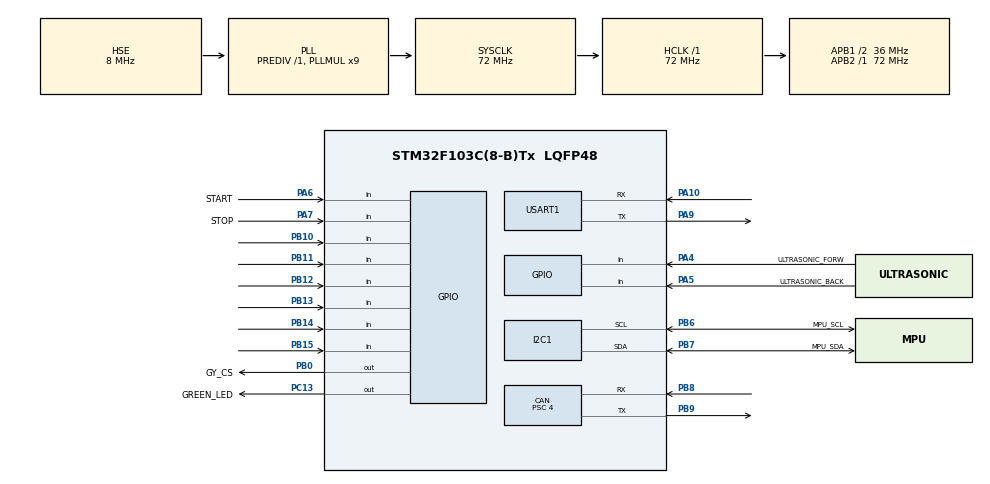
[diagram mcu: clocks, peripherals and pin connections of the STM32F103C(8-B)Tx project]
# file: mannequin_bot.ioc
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CAN.BS1=CAN_BS1_15TQ
CAN.BS2=CAN_BS2_2TQ
CAN.CalculateBaudRate=500000
CAN.CalculateTimeBit=2000
CAN.CalculateTimeQuantum=111.11111111111111
CAN.Prescaler=4
Dma.Request0=USART1_RX
Dma.USART1_RX.0.Direction=DMA_PERIPH_TO_MEMORY
Dma.USART1_RX.0.Instance=DMA1_Channel5
Dma.USART1_RX.0.MemDataAlignment=DMA_MDATAALIGN_BYTE
Dma.USART1_RX.0.MemInc=DMA_MINC_ENABLE
Dma.USART1_RX.0.Mode=DMA_NORMAL
Dma.USART1_RX.0.PeriphDataAlignment=DMA_PDATAALIGN_BYTE
Dma.USART1_RX.0.PeriphInc=DMA_PINC_DISABLE
Dma.USART1_RX.0.Priority=DMA_PRIORITY_LOW
I2C1.I2C_Mode=I2C_Fast
Mcu.Family=STM32F1
Mcu.Name=STM32F103C(8-B)Tx
Mcu.Package=LQFP48
NVIC.CAN1_SCE_IRQn=true\:0\:0\:false\:false\:true\:true\:true\:true
NVIC.DMA1_Channel5_IRQn=true\:0\:0\:false\:false\:true\:false\:true\:true
NVIC.PriorityGroup=NVIC_PRIORITYGROUP_4
NVIC.USART1_IRQn=true\:0\:0\:false\:false\:true\:true\:true\:true
NVIC.USB_LP_CAN1_RX0_IRQn=true\:0\:0\:false\:false\:true\:true\:true\:true
PA10.Mode=Asynchronous
PA10.Signal=USART1_RX
PA13.Mode=Serial_Wire
PA13.Signal=SYS_JTMS-SWDIO
PA14.Mode=Serial_Wire
PA14.Signal=SYS_JTCK-SWCLK
PA4.GPIO_Label=ULTRASONIC_FORW
PA4.GPIO_PuPd=GPIO_PULLUP
PA4.Signal=GPIO_Input
PA5.GPIO_Label=ULTRASONIC_BACK
PA5.GPIO_PuPd=GPIO_PULLUP
PA5.Signal=GPIO_Input
PA6.GPIO_Label=START
PA6.GPIO_PuPd=GPIO_PULLUP
PA6.Signal=GPIO_Input
PA7.GPIO_Label=STOP
PA7.GPIO_PuPd=GPIO_PULLUP
PA7.Signal=GPIO_Input
PA9.Mode=Asynchronous
PA9.Signal=USART1_TX
PB0.GPIO_Label=GY_CS
PB0.Signal=GPIO_Output
PB10.GPIO_PuPd=GPIO_PULLUP
PB10.Signal=GPIO_Input
PB11.GPIO_PuPd=GPIO_PULLUP
PB11.Signal=GPIO_Input
PB12.GPIO_PuPd=GPIO_PULLUP
PB12.Signal=GPIO_Input
PB13.GPIO_PuPd=GPIO_PULLUP
PB13.Signal=GPIO_Input
PB14.GPIO_PuPd=GPIO_PULLUP
PB14.Signal=GPIO_Input
PB15.GPIO_PuPd=GPIO_PULLUP
PB15.Signal=GPIO_Input
PB6.GPIO_Label=MPU_SCL
PB6.Mode=I2C
PB6.Signal=I2C1_SCL
PB7.GPIO_Label=MPU_SDA
PB7.Mode=I2C
PB7.Signal=I2C1_SDA
PB8.Mode=CAN_Activate
PB8.Signal=CAN_RX
PB9.Mode=CAN_Activate
PB9.Signal=CAN_TX
PC13-TAMPER-RTC.GPIO_Label=GREEN_LED
PC13-TAMPER-RTC.PinState=GPIO_PIN_SET
PC13-TAMPER-RTC.Signal=GPIO_Output
PD0-OSC_IN.Mode=HSE-External-Oscillator
PD0-OSC_IN.Signal=RCC_OSC_IN
PD1-OSC_OUT.Mode=HSE-External-Oscillator
PD1-OSC_OUT.Signal=RCC_OSC_OUT
ProjectManager.HeapSize=0x200
ProjectManager.StackSize=0x400
ProjectManager.TargetToolchain=STM32CubeIDE
RCC.AHBFreq_Value=72000000
RCC.APB1CLKDivider=RCC_HCLK_DIV2
RCC.APB1Freq_Value=36000000
RCC.APB1TimFreq_Value=72000000
RCC.APB2Freq_Value=72000000
RCC.APB2TimFreq_Value=72000000
RCC.HCLKFreq_Value=72000000
RCC.PLLMUL=RCC_PLL_MUL9
RCC.PLLSourceVirtual=RCC_PLLSOURCE_HSE
RCC.SYSCLKFreq_VALUE=72000000
RCC.SYSCLKSource=RCC_SYSCLKSOURCE_PLLCLK
RCC.USBFreq_Value=72000000
USART1.VirtualMode=VM_ASYNC
board=custom

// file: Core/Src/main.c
/* USER CODE BEGIN Header */
/**
  ******************************************************************************
  * @file           : main.c
  * @brief          : Main program body
  ******************************************************************************
  * @attention
  *
  * Copyright (c) 2023 STMicroelectronics.
  * All rights reserved.
  *
  * This software is licensed under terms that can be found in the LICENSE file
  * in the root directory of this software component.
  * If no LICENSE file comes with this software, it is provided AS-IS.
  *
  ******************************************************************************
  */
/* USER CODE END Header */
#include "main.h"

/* USER CODE BEGIN Includes */
#include "MPU9250-DMP.h"
#include "printf/printf.h"
#include "stdlib.h"
#include "string.h"
#include "stdio.h"
//#include "math.h"
/* USER CODE END Includes */

CAN_HandleTypeDef hcan;

I2C_HandleTypeDef hi2c1;

UART_HandleTypeDef huart1;
DMA_HandleTypeDef hdma_usart1_rx;

/* USER CODE BEGIN PV */
char buff[100];

/* USER CODE END PV */

void SystemClock_Config(void);
static void MX_GPIO_Init(void);
static void MX_DMA_Init(void);
static void MX_USART1_UART_Init(void);
static void MX_CAN_Init(void);
static void MX_I2C1_Init(void);

/* USER CODE BEGIN 0 */
#define ULTRA_FORW HAL_GPIO_ReadPin(ULTRASONIC_FORW_GPIO_Port, ULTRASONIC_FORW_Pin)
#define ULTRA_BACK HAL_GPIO_ReadPin(ULTRASONIC_BACK_GPIO_Port, ULTRASONIC_BACK_Pin)
#define START_B HAL_GPIO_ReadPin(START_GPIO_Port, START_Pin)
#define STOP_B HAL_GPIO_ReadPin(STOP_GPIO_Port, STOP_Pin)

#define DRIVER_MOVE_ID 0x01
#define DRIVER_LIFT_ID 0x02
#define MOTOR_SPEED 800
#define MOTOR_SPEED_ROTATE 800
#define ANGL_ROT 30

int32_t status_move = 0;

enum StatMove {
	STAT_MOVE_STOP = 0,
	STAT_MOVE_FORW,
	STAT_MOVE_BACK,
	STAT_MOVE_ROT_R,
	STAT_MOVE_ROT_L
};

uint8_t uart_buff[100];
uint8_t new_data = 0;
uint16_t data_size = 0;

int32_t manual_mode = 0;
int32_t start_stop = 0;
int32_t motor_speed_left = 0;
int32_t motor_speed_right = 0;

CAN_TxHeaderTypeDef TxHeader;
CAN_RxHeaderTypeDef RxHeader;
uint8_t TxData[8] = {0,};
uint8_t RxData[8] = {0,};
uint32_t TxMailbox = 0;
volatile uint8_t NewCanMsg = 0;

enum CanGetMsgStatus {
	CAN_GET_MSG_WAIT					=  0,
	CAN_GET_MSG_OK                      =  1,
	CAN_GET_MSG_ERROR                   =  2,
};

typedef struct {
	int32_t encoder;
	float voltage;
} CanDataRecvTypeDef;

typedef struct {
	uint32_t canId;
	uint32_t canExtId;
	uint32_t canRTR;
	uint8_t canData[8];
} CanDataSendTypeDef;

extern float pitch_inside, roll_inside, yaw_inside;
extern float heading;
void printIMUData(void)
{
  snprintf(buff, sizeof buff, "%2.2f | %2.2f | %2.2f |  %2.2f\r\n", roll_inside, pitch_inside, yaw_inside, heading);
  HAL_UART_Transmit(&huart1, (uint8_t*)buff, strlen(buff), HAL_MAX_DELAY);
}

void HAL_UART_ErrorCallback(UART_HandleTypeDef *huart)
{
	uint32_t er = HAL_UART_GetError(huart);
	switch (er) {
		case HAL_UART_ERROR_PE: // ошибка четности
			__HAL_UART_CLEAR_PEFLAG(huart);
			huart->ErrorCode = HAL_UART_ERROR_NONE;
			break;
		case HAL_UART_ERROR_NE:  // шум на линии
			__HAL_UART_CLEAR_NEFLAG(huart);
			huart->ErrorCode = HAL_UART_ERROR_NONE;
			break;
		case HAL_UART_ERROR_FE:  // ошибка фрейма
			__HAL_UART_CLEAR_FEFLAG(huart);
			huart->ErrorCode = HAL_UART_ERROR_NONE;
			break;
		case HAL_UART_ERROR_ORE:  // overrun error
			__HAL_UART_CLEAR_OREFLAG(huart);
			huart->ErrorCode = HAL_UART_ERROR_NONE;
			break;
		case HAL_UART_ERROR_DMA:  // ошибка DMA
			huart->ErrorCode = HAL_UART_ERROR_NONE;
			break;
		default:
			break;
		}
	if (huart->Instance == USART1) {
		new_data = 1;
		HAL_UARTEx_ReceiveToIdle_DMA(&huart1, uart_buff, sizeof(uart_buff));
		__HAL_DMA_DISABLE_IT(&hdma_usart1_rx, DMA_IT_HT);
	}
}

void HAL_UARTEx_RxEventCallback(UART_HandleTypeDef *huart, uint16_t Size) {
	if (huart->Instance == USART1) {
		new_data = 1;
		data_size = Size;
		HAL_UARTEx_ReceiveToIdle_DMA(&huart1, uart_buff, sizeof(uart_buff));
		__HAL_DMA_DISABLE_IT(&hdma_usart1_rx, DMA_IT_HT);
	}
}

void HAL_CAN_RxFifo0MsgPendingCallback(CAN_HandleTypeDef *hcan)
{
	if (HAL_CAN_GetRxMessage(hcan, CAN_RX_FIFO0, &RxHeader, RxData) != HAL_OK)
	{
		Error_Handler();
	}
	NewCanMsg = CAN_GET_MSG_OK;
}
void HAL_CAN_ErrorCallback(CAN_HandleTypeDef *hcan)
{
    NewCanMsg = CAN_GET_MSG_ERROR;
}

uint8_t CanMsgRead(CanDataRecvTypeDef *canDataRecv) {

	return 1;
}

uint8_t CanMsgSend(CanDataSendTypeDef *canDataSend) {

	TxHeader.StdId = canDataSend->canId;
	TxHeader.ExtId = canDataSend->canExtId;
	TxHeader.RTR = canDataSend->canRTR;
	TxHeader.IDE = CAN_ID_EXT;
	TxHeader.DLC = 8;
	TxHeader.TransmitGlobalTime = 0;
	//globData.can_mutex = 0;
	for (int i = 0; i < sizeof(TxData); i++) {
		TxData[i] = canDataSend->canData[i];
	}
	while (HAL_CAN_GetTxMailboxesFreeLevel(&hcan) == 0);
	if (HAL_CAN_AddTxMessage(&hcan, &TxHeader, TxData, &TxMailbox) != HAL_OK) {
		//HAL_UART_Transmit(&huart, (uint8_t*) "no_trans\r\n", 10, 100);
		return 0;
	}
	return 1;
}

void Moving() {

	CanDataSendTypeDef canDataSend;

	static int move_axis_en = 0;
	static int lift_axis_en = 0;
	if (start_stop) {
			canDataSend.canExtId = DRIVER_MOVE_ID + 0x06000000;
			canDataSend.canRTR = CAN_RTR_DATA;
			if (!move_axis_en) {
				move_axis_en = 1;
				canDataSend.canData[0] = 0x23;
				canDataSend.canData[1] = 0x0D;
				canDataSend.canData[2] = 0x20;
				canDataSend.canData[3] = 0x01;
				canDataSend.canData[4] = 0x00;
				canDataSend.canData[5] = 0x00;
				canDataSend.canData[6] = 0x00;
				canDataSend.canData[7] = 0x00;
				CanMsgSend(&canDataSend);
				HAL_Delay(10);
			}
			if (!lift_axis_en) {
				lift_axis_en = 1;
				canDataSend.canData[0] = 0x23;
				canDataSend.canData[1] = 0x0D;
				canDataSend.canData[2] = 0x20;
				canDataSend.canData[3] = 0x02;
				canDataSend.canData[4] = 0x00;
				canDataSend.canData[5] = 0x00;
				canDataSend.canData[6] = 0x00;
				canDataSend.canData[7] = 0x00;
				CanMsgSend(&canDataSend);
				HAL_Delay(10);
			}
			static int32_t ch_velocity = 0;
			//if (motor1_speed) { //(l_current_move_comm == MOVE_FORW) {
			//HAL_UART_Transmit(&DEBUG_UART, (uint8_t*)"can_send\r\n", 10, 100);
			canDataSend.canData[0] = 0x23;
			canDataSend.canData[1] = 0x00;
			canDataSend.canData[2] = 0x20;
			canDataSend.canData[3] = 0x01;
			ch_velocity = motor_speed_left;
			canDataSend.canData[4] = ch_velocity >> 24;
			canDataSend.canData[5] = ch_velocity >> 16;
			canDataSend.canData[6] = ch_velocity >> 8;
			canDataSend.canData[7] = ch_velocity;
			CanMsgSend(&canDataSend);
			HAL_Delay(2);
			//}
			//else if (motor2_speed) {
			canDataSend.canData[0] = 0x23;
			canDataSend.canData[1] = 0x00;
			canDataSend.canData[2] = 0x20;
			canDataSend.canData[3] = 0x02;
			ch_velocity = motor_speed_right;
			canDataSend.canData[4] = ch_velocity >> 24;
			canDataSend.canData[5] = ch_velocity >> 16;
			canDataSend.canData[6] = ch_velocity >> 8;
			canDataSend.canData[7] = ch_velocity;
			CanMsgSend(&canDataSend);
			//}
		}
		else
		{
			canDataSend.canData[0] = 0x23;
			canDataSend.canData[1] = 0x00;
			canDataSend.canData[2] = 0x20;
			canDataSend.canData[3] = 0x01;
			canDataSend.canData[4] = 0x00;
			canDataSend.canData[5] = 0x00;
			canDataSend.canData[6] = 0x00;
			canDataSend.canData[7] = 0x00;
			CanMsgSend(&canDataSend);
			HAL_Delay(10);
			canDataSend.canData[0] = 0x23;
			canDataSend.canData[1] = 0x00;
			canDataSend.canData[2] = 0x20;
			canDataSend.canData[3] = 0x02;
			canDataSend.canData[4] = 0x00;
			canDataSend.canData[5] = 0x00;
			canDataSend.canData[6] = 0x00;
			canDataSend.canData[7] = 0x00;
			CanMsgSend(&canDataSend);
			move_axis_en = 0;
			lift_axis_en = 0;
		}
		HAL_Delay(5);
}

void read_uart() {
	if (new_data)
	{
		new_data = 0;
	}
//	HAL_UART_Transmit(&huart1, (uint8_t*)bms_jbd_request_msg0, sizeof(bms_jbd_request_msg0), 100);
}

void logic()
{
	static uint32_t ultra_forw_trig = 0;
	static uint32_t ultra_back_trig = 0;
	static uint32_t logic_state = 0;
	static float yaw_sv = 0;
	if (start_stop)
	{
		if (!ULTRA_FORW && status_move == STAT_MOVE_FORW) //npn sensor
		{
//			HAL_GPIO_WritePin(GREEN_LED_GPIO_Port, GREEN_LED_Pin, GPIO_PIN_RESET);
			ultra_forw_trig = 1;
		}
		if (!ULTRA_BACK && status_move == STAT_MOVE_BACK) //npn sensor
		{
			ultra_back_trig = 1;
//			HAL_GPIO_WritePin(GREEN_LED_GPIO_Port, GREEN_LED_Pin, GPIO_PIN_RESET);
		}
//		if (ULTRA_FORW && ULTRA_BACK)
//		{
//			HAL_GPIO_WritePin(GREEN_LED_GPIO_Port, GREEN_LED_Pin, GPIO_PIN_SET);
//		}
		if (logic_state == 0)
		{
			yaw_sv = yaw_inside;
			logic_state++;
		}
		else if (logic_state == 1)
		{

			if (ultra_forw_trig || ultra_back_trig)
			{
				uint32_t randm = rand()%10;
				if (randm > 5)
				{
					motor_speed_left = MOTOR_SPEED_ROTATE;
					motor_speed_right = MOTOR_SPEED_ROTATE;
					status_move = STAT_MOVE_ROT_R;
				}
				else
				{
					motor_speed_left = -MOTOR_SPEED_ROTATE;
					motor_speed_right = -MOTOR_SPEED_ROTATE;
					status_move = STAT_MOVE_ROT_L;
				}
				logic_state++;
			}
			else
			{
				logic_state = 3;
			}

		}
		else if (logic_state == 2)
		{
			float yaw_tmp = abs(yaw_sv - yaw_inside);
			if (yaw_tmp > ANGL_ROT)
			{
				logic_state = 3;
			}
		}
		else if (logic_state == 3)
		{
			if (ultra_back_trig)
			{
				motor_speed_left = MOTOR_SPEED;
				motor_speed_right = -MOTOR_SPEED;
				status_move = STAT_MOVE_FORW;
			}
			else
			{
				motor_speed_left = -MOTOR_SPEED;
				motor_speed_right = MOTOR_SPEED;
				status_move = STAT_MOVE_BACK;
			}
			ultra_forw_trig = 0;
			ultra_back_trig = 0;
			logic_state++;
		}
		else if (logic_state == 4)
		{
			if (ultra_forw_trig || ultra_back_trig)
			{
				logic_state = 0;
			}
		}
	}
	else
	{
		logic_state = 0;
		if (!manual_mode)
		{
			motor_speed_left = 0;
			motor_speed_right = 0;
			status_move = STAT_MOVE_STOP;
		}
	}
}
/* USER CODE END 0 */

int main(void)
{

  /* MCU Configuration--------------------------------------------------------*/

  /* Reset of all peripherals, Initializes the Flash interface and the Systick. */
  HAL_Init();

  /* Configure the system clock */
  SystemClock_Config();

  /* Initialize all configured peripherals */
  MX_GPIO_Init();
  MX_DMA_Init();
  MX_USART1_UART_Init();
  MX_CAN_Init();
  MX_I2C1_Init();
  /* USER CODE BEGIN 2 */
  HAL_UARTEx_ReceiveToIdle_DMA(&huart1, uart_buff, sizeof(uart_buff));
  __HAL_DMA_DISABLE_IT(&hdma_usart1_rx, DMA_IT_HT);

  /* USER CODE END 2 */

  /* Infinite loop */
  /* USER CODE BEGIN WHILE */
  HAL_Delay(1500);
  HAL_UART_Transmit(&huart1, (uint8_t*)"Start\r\n", 7, HAL_MAX_DELAY);
  HAL_Delay(1500);
  if (MPU9250_begin() != INV_SUCCESS)
  {
	  while(1)
	  {
		  HAL_UART_Transmit(&huart1, (uint8_t*)"Error\r\n", 7, HAL_MAX_DELAY);
		  HAL_GPIO_WritePin(GREEN_LED_GPIO_Port, GREEN_LED_Pin, GPIO_PIN_RESET);
		  HAL_Delay(500);
		  HAL_GPIO_WritePin(GREEN_LED_GPIO_Port, GREEN_LED_Pin, GPIO_PIN_SET);
		  HAL_Delay(1500);
	  }
  }
  else
  {
	  HAL_UART_Transmit(&huart1, (uint8_t*)"begin\r\n", 7, HAL_MAX_DELAY);
  }

//  MPU9250_setSensors(INV_XYZ_GYRO | INV_XYZ_ACCEL);
//  MPU9250_setGyroFSR(2000);
//  MPU9250_setAccelFSR(16);
//  MPU9250_setSampleRate(1000);
//  //MPU9250_setCompassSampleRate(100);
  MPU9250_dmpBegin(DMP_FEATURE_6X_LP_QUAT | DMP_FEATURE_GYRO_CAL, 20);
  uint32_t time_u = 0;
  start_stop = 1; ///////////FOR TEST
  while (1)
  {
	  //MPU9250_update(UPDATE_ACCEL | UPDATE_GYRO | UPDATE_COMPASS);
	  if(MPU9250_fifoAvailable())
	  {
		  if (MPU9250_dmpUpdateFifo() == INV_SUCCESS)
		  {
			  MPU9250_computeEulerAngles(1);
			  //MPU9250_updateCompass();
			  //MPU9250_computeCompassHeading();
			  //printIMUData();
		  }
	  }
	  logic();
	  Moving();

	  //HAL_Delay(100);

//	  if((HAL_GetTick() - time_u) > 10)
//	  {
//		  snprintf(buff, sizeof buff, "%2.2f | %2.2f | %2.2f\r\n", roll_inside, pitch_inside, yaw_inside);
//		  //sprintf(buff, "%d.%d | %d.%d | %d.%d\r\n", roll/10, rollDecimal, pitch/10, pitchDecimal, yaw/10, yawDecimal);
//	  	  HAL_UART_Transmit(&huart1, (uint8_t*)buff, strlen(buff), HAL_MAX_DELAY);
//	  	  time_u = HAL_GetTick();
//	  }
	  //HAL_Delay(10);

    /* USER CODE END WHILE */

  }
}

void SystemClock_Config(void)
{
  RCC_OscInitTypeDef RCC_OscInitStruct = {0};
  RCC_ClkInitTypeDef RCC_ClkInitStruct = {0};

  /** Initializes the RCC Oscillators according to the specified parameters
  * in the RCC_OscInitTypeDef structure.
  */
  RCC_OscInitStruct.OscillatorType = RCC_OSCILLATORTYPE_HSE;
  RCC_OscInitStruct.HSEState = RCC_HSE_ON;
  RCC_OscInitStruct.HSEPredivValue = RCC_HSE_PREDIV_DIV1;
  RCC_OscInitStruct.HSIState = RCC_HSI_ON;
  RCC_OscInitStruct.PLL.PLLState = RCC_PLL_ON;
  RCC_OscInitStruct.PLL.PLLSource = RCC_PLLSOURCE_HSE;
  RCC_OscInitStruct.PLL.PLLMUL = RCC_PLL_MUL9;
  if (HAL_RCC_OscConfig(&RCC_OscInitStruct) != HAL_OK)
  {
    Error_Handler();
  }

  /** Initializes the CPU, AHB and APB buses clocks
  */
  RCC_ClkInitStruct.ClockType = RCC_CLOCKTYPE_HCLK|RCC_CLOCKTYPE_SYSCLK
                              |RCC_CLOCKTYPE_PCLK1|RCC_CLOCKTYPE_PCLK2;
  RCC_ClkInitStruct.SYSCLKSource = RCC_SYSCLKSOURCE_PLLCLK;
  RCC_ClkInitStruct.AHBCLKDivider = RCC_SYSCLK_DIV1;
  RCC_ClkInitStruct.APB1CLKDivider = RCC_HCLK_DIV2;
  RCC_ClkInitStruct.APB2CLKDivider = RCC_HCLK_DIV1;

  if (HAL_RCC_ClockConfig(&RCC_ClkInitStruct, FLASH_LATENCY_2) != HAL_OK)
  {
    Error_Handler();
  }
}

static void MX_CAN_Init(void)
{

  /* USER CODE BEGIN CAN_Init 0 */
	CAN_FilterTypeDef  sFilterConfig;
  /* USER CODE END CAN_Init 0 */

  hcan.Instance = CAN1;
  hcan.Init.Prescaler = 4;
  hcan.Init.Mode = CAN_MODE_NORMAL;
  hcan.Init.SyncJumpWidth = CAN_SJW_1TQ;
  hcan.Init.TimeSeg1 = CAN_BS1_15TQ;
  hcan.Init.TimeSeg2 = CAN_BS2_2TQ;
  hcan.Init.TimeTriggeredMode = DISABLE;
  hcan.Init.AutoBusOff = DISABLE;
  hcan.Init.AutoWakeUp = DISABLE;
  hcan.Init.AutoRetransmission = DISABLE;
  hcan.Init.ReceiveFifoLocked = DISABLE;
  hcan.Init.TransmitFifoPriority = DISABLE;
  if (HAL_CAN_Init(&hcan) != HAL_OK)
  {
    Error_Handler();
  }
  /* USER CODE BEGIN CAN_Init 2 */
  	  	sFilterConfig.FilterBank = 0;
        sFilterConfig.FilterMode = CAN_FILTERMODE_IDMASK;
        sFilterConfig.FilterScale = CAN_FILTERSCALE_32BIT;
        sFilterConfig.FilterIdHigh = 0x0000;
        sFilterConfig.FilterIdLow = 0x0000;
        sFilterConfig.FilterMaskIdHigh = 0x0000;
        sFilterConfig.FilterMaskIdLow = 0x0000;
        sFilterConfig.FilterFIFOAssignment = CAN_RX_FIFO0;
        sFilterConfig.FilterActivation = ENABLE;
        //sFilterConfig.SlaveStartFilterBank = 14;

        if(HAL_CAN_ConfigFilter(&hcan, &sFilterConfig) != HAL_OK)
        {
        	Error_Handler();
        }
        if (HAL_CAN_Start(&hcan) != HAL_OK) {
      	Error_Handler();
        }
        if (HAL_CAN_ActivateNotification(&hcan,
      		  CAN_IT_RX_FIFO0_MSG_PENDING | CAN_IT_ERROR | CAN_IT_BUSOFF
  			  	  | CAN_IT_LAST_ERROR_CODE) != HAL_OK) {
      	Error_Handler();
        }
  /* USER CODE END CAN_Init 2 */

}

static void MX_I2C1_Init(void)
{

  hi2c1.Instance = I2C1;
  hi2c1.Init.ClockSpeed = 400000;
  hi2c1.Init.DutyCycle = I2C_DUTYCYCLE_2;
  hi2c1.Init.OwnAddress1 = 0;
  hi2c1.Init.AddressingMode = I2C_ADDRESSINGMODE_7BIT;
  hi2c1.Init.DualAddressMode = I2C_DUALADDRESS_DISABLE;
  hi2c1.Init.OwnAddress2 = 0;
  hi2c1.Init.GeneralCallMode = I2C_GENERALCALL_DISABLE;
  hi2c1.Init.NoStretchMode = I2C_NOSTRETCH_DISABLE;
  if (HAL_I2C_Init(&hi2c1) != HAL_OK)
  {
    Error_Handler();
  }

}

static void MX_USART1_UART_Init(void)
{

  huart1.Instance = USART1;
  huart1.Init.BaudRate = 115200;
  huart1.Init.WordLength = UART_WORDLENGTH_8B;
  huart1.Init.StopBits = UART_STOPBITS_1;
  huart1.Init.Parity = UART_PARITY_NONE;
  huart1.Init.Mode = UART_MODE_TX_RX;
  huart1.Init.HwFlowCtl = UART_HWCONTROL_NONE;
  huart1.Init.OverSampling = UART_OVERSAMPLING_16;
  if (HAL_UART_Init(&huart1) != HAL_OK)
  {
    Error_Handler();
  }

}

static void MX_DMA_Init(void)
{

  /* DMA controller clock enable */
  __HAL_RCC_DMA1_CLK_ENABLE();

  /* DMA interrupt init */
  /* DMA1_Channel5_IRQn interrupt configuration */
  HAL_NVIC_SetPriority(DMA1_Channel5_IRQn, 0, 0);
  HAL_NVIC_EnableIRQ(DMA1_Channel5_IRQn);

}

static void MX_GPIO_Init(void)
{
  GPIO_InitTypeDef GPIO_InitStruct = {0};

  /* GPIO Ports Clock Enable */
  __HAL_RCC_GPIOC_CLK_ENABLE();
  __HAL_RCC_GPIOD_CLK_ENABLE();
  __HAL_RCC_GPIOA_CLK_ENABLE();
  __HAL_RCC_GPIOB_CLK_ENABLE();

  /*Configure GPIO pin Output Level */
  HAL_GPIO_WritePin(GREEN_LED_GPIO_Port, GREEN_LED_Pin, GPIO_PIN_SET);

  /*Configure GPIO pin Output Level */
  HAL_GPIO_WritePin(GY_CS_GPIO_Port, GY_CS_Pin, GPIO_PIN_RESET);

  /*Configure GPIO pin : GREEN_LED_Pin */
  GPIO_InitStruct.Pin = GREEN_LED_Pin;
  GPIO_InitStruct.Mode = GPIO_MODE_OUTPUT_PP;
  GPIO_InitStruct.Pull = GPIO_NOPULL;
  GPIO_InitStruct.Speed = GPIO_SPEED_FREQ_LOW;
  HAL_GPIO_Init(GREEN_LED_GPIO_Port, &GPIO_InitStruct);

  /*Configure GPIO pins : ULTRASONIC_FORW_Pin ULTRASONIC_BACK_Pin START_Pin STOP_Pin */
  GPIO_InitStruct.Pin = ULTRASONIC_FORW_Pin|ULTRASONIC_BACK_Pin|START_Pin|STOP_Pin;
  GPIO_InitStruct.Mode = GPIO_MODE_INPUT;
  GPIO_InitStruct.Pull = GPIO_PULLUP;
  HAL_GPIO_Init(GPIOA, &GPIO_InitStruct);

  /*Configure GPIO pin : GY_CS_Pin */
  GPIO_InitStruct.Pin = GY_CS_Pin;
  GPIO_InitStruct.Mode = GPIO_MODE_OUTPUT_PP;
  GPIO_InitStruct.Pull = GPIO_NOPULL;
  GPIO_InitStruct.Speed = GPIO_SPEED_FREQ_LOW;
  HAL_GPIO_Init(GY_CS_GPIO_Port, &GPIO_InitStruct);

  /*Configure GPIO pins : PB10 PB11 PB12 PB13
                           PB14 PB15 */
  GPIO_InitStruct.Pin = GPIO_PIN_10|GPIO_PIN_11|GPIO_PIN_12|GPIO_PIN_13
                          |GPIO_PIN_14|GPIO_PIN_15;
  GPIO_InitStruct.Mode = GPIO_MODE_INPUT;
  GPIO_InitStruct.Pull = GPIO_PULLUP;
  HAL_GPIO_Init(GPIOB, &GPIO_InitStruct);

}

void Error_Handler(void)
{
  __disable_irq();
  while (1)
  {
  }
}
